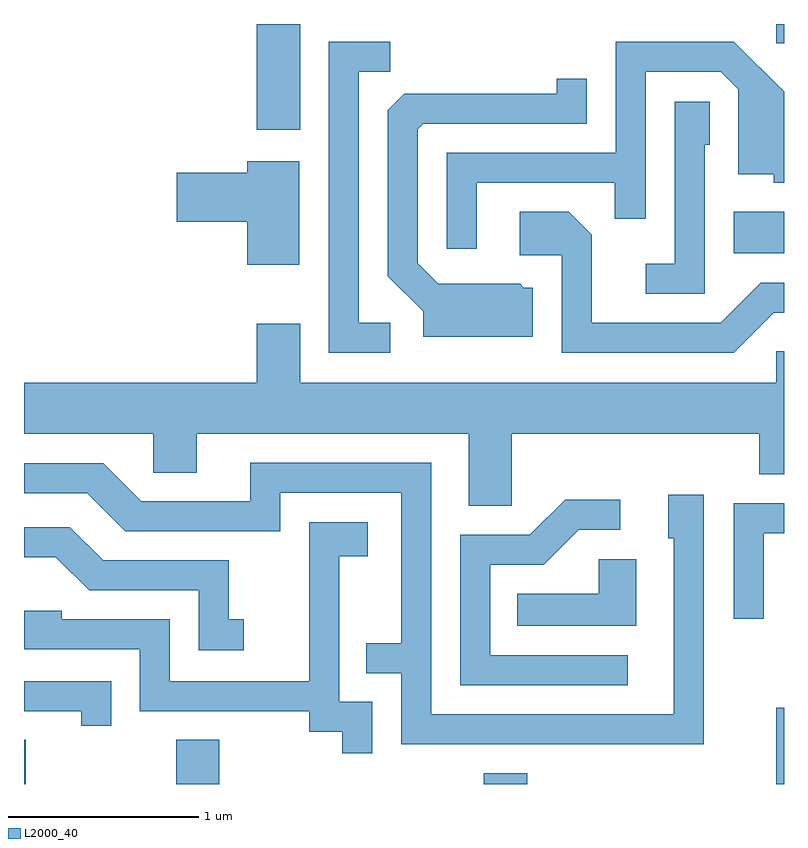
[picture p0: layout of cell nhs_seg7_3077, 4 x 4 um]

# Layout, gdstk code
import gdstk
lib = gdstk.Library(unit=1e-6, precision=1e-09)
def R(c, l, rs):  # rectangles x0, y0, x1, y1
    for r in rs: c.add(gdstk.rectangle(r[:2], r[2:], *l))
def P(c, l, *ps):  # polygons
    for p in ps: c.add(gdstk.Polygon(p, *l))
L2000_40 = (2000, 40)

nhs_seg7_3077 = lib.new_cell('nhs_seg7_3077')
R(nhs_seg7_3077, L2000_40, [(279.611,1710.252,279.619,1710.484), (280.411,1710.252,280.639,1710.484), (282.031,1710.252,282.259,1710.309), (283.571,1710.252,283.611,1710.654), (283.346,1713.046,283.611,1713.264), (280.836,1713.696,281.064,1714.252), (283.571,1714.151,283.611,1714.252)])
P(nhs_seg7_3077, L2000_40, [(281.538,1712.679),(281.374,1712.679),(281.374,1714.001),(281.538,1714.001),(281.538,1714.159),(281.216,1714.159),(281.216,1712.521),(281.538,1712.521)],
  [(281.994,1713.416),(282.721,1713.416),(282.721,1713.228),(282.884,1713.228),(282.884,1714.001),(283.279,1714.001),(283.371,1713.909),(283.371,1713.461),(283.556,1713.461),(283.556,1713.416),(283.611,1713.416),(283.611,1713.895),(283.347,1714.159),(282.726,1714.159),(282.726,1713.574),(281.836,1713.574),(281.836,1713.068),(281.994,1713.068)],
  [(282.289,1712.864),(282.242,1712.864),(282.222,1712.884),(281.792,1712.884),(281.684,1712.992),(281.684,1713.699),(281.712,1713.726),(282.574,1713.726),(282.574,1713.963),(282.416,1713.963),(282.416,1713.884),(281.612,1713.884),(281.526,1713.799),(281.526,1712.924),(281.711,1712.739),(281.711,1712.606),(282.289,1712.606)],
  [(283.194,1713.616),(283.219,1713.616),(283.219,1713.844),(283.036,1713.844),(283.036,1712.989),(282.883,1712.989),(282.883,1712.831),(283.194,1712.831)],
  [(281.059,1713.529),(280.786,1713.529),(280.786,1713.469),(280.416,1713.469),(280.416,1713.211),(280.786,1713.211),(280.786,1712.986),(281.059,1712.986)],
  [(283.557,1712.731),(283.611,1712.731),(283.611,1712.889),(283.489,1712.889),(283.279,1712.679),(282.599,1712.679),(282.599,1713.142),(282.477,1713.264),(282.221,1713.264),(282.221,1713.036),(282.441,1713.036),(282.441,1712.521),(283.347,1712.521)],
  [(282.179,1712.096),(283.481,1712.096),(283.481,1711.881),(283.611,1711.881),(283.611,1712.529),(283.571,1712.529),(283.571,1712.364),(281.064,1712.364),(281.064,1712.674),(280.836,1712.674),(280.836,1712.364),(279.611,1712.364),(279.611,1712.096),(280.291,1712.096),(280.291,1711.891),(280.519,1711.891),(280.519,1712.096),(281.951,1712.096),(281.951,1711.716),(282.179,1711.716)],
  [(283.189,1711.774),(283.001,1711.774),(283.001,1711.546),(283.031,1711.546),(283.031,1710.619),(281.754,1710.619),(281.754,1711.944),(280.801,1711.944),(280.801,1711.739),(280.227,1711.739),(280.027,1711.939),(279.611,1711.939),(279.611,1711.781),(279.944,1711.781),(280.144,1711.581),(280.959,1711.581),(280.959,1711.786),(281.596,1711.786),(281.596,1710.994),(281.413,1710.994),(281.413,1710.836),(281.596,1710.836),(281.596,1710.461),(283.189,1710.461)],
  [(282.788,1710.929),(282.064,1710.929),(282.064,1711.406),(282.347,1711.406),(282.532,1711.591),(282.748,1711.591),(282.748,1711.749),(282.459,1711.749),(282.274,1711.564),(281.906,1711.564),(281.906,1710.771),(282.788,1710.771)],
  [(283.504,1711.571),(283.611,1711.571),(283.611,1711.729),(283.346,1711.729),(283.346,1711.123),(283.504,1711.123)],
  [(281.444,1710.684),(281.269,1710.684),(281.269,1711.451),(281.419,1711.451),(281.419,1711.629),(281.111,1711.629),(281.111,1710.794),(280.379,1710.794),(280.379,1711.119),(279.809,1711.119),(279.809,1711.164),(279.611,1711.164),(279.611,1710.961),(280.221,1710.961),(280.221,1710.636),(281.111,1710.636),(281.111,1710.526),(281.286,1710.526),(281.286,1710.413),(281.444,1710.413)],
  [(280.768,1711.119),(280.689,1711.119),(280.689,1711.429),(280.027,1711.429),(279.852,1711.604),(279.611,1711.604),(279.611,1711.446),(279.779,1711.446),(279.954,1711.271),(280.531,1711.271),(280.531,1710.956),(280.768,1710.956)],
  [(282.834,1711.434),(282.636,1711.434),(282.636,1711.254),(282.208,1711.254),(282.208,1711.086),(282.834,1711.086)],
  [(280.069,1710.794),(279.611,1710.794),(279.611,1710.636),(279.911,1710.636),(279.911,1710.558),(280.069,1710.558)])

lib.write_gds('nhs_seg7_3077.gds')
